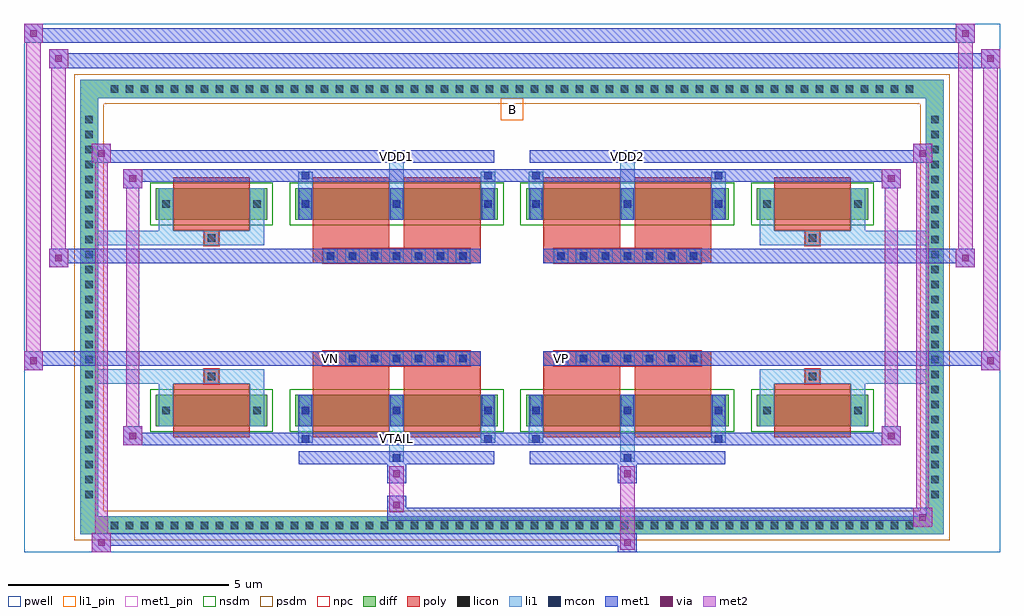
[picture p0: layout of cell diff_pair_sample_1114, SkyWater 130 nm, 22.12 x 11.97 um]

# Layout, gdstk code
import gdstk
lib = gdstk.Library(unit=1e-6, precision=5e-09)
def R(c, l, rs):  # rectangles x0, y0, x1, y1
    for r in rs: c.add(gdstk.rectangle(r[:2], r[2:], *l))
def A(c, l, x, y, w, h, nx, ny, dx, dy):  # array of equal rectangles
    R(c, l, [(x+i*dx, y+j*dy, x+i*dx+w, y+j*dy+h) for i in range(nx) for j in range(ny)])
def P(c, l, *ps):  # polygons
    for p in ps: c.add(gdstk.Polygon(p, *l))
pwell = (64, 44)
diff = (65, 20)
poly = (66, 20)
licon = (66, 44)
li1_pin = (67, 16)
li1 = (67, 20)
mcon = (67, 44)
met1_pin = (68, 16)
met1 = (68, 20)
via = (68, 44)
met2 = (69, 20)
nsdm = (93, 44)
psdm = (94, 20)
npc = (95, 20)

diff_pair_sample_1114 = lib.new_cell('diff_pair_sample_1114')
R(diff_pair_sample_1114, pwell, [(-11.06,-5.55,11.06,6.42), (-8.38,-3.74,-0.01,-0.8), (0.01,-3.74,8.38,-0.8), (-8.38,0.8,-0.01,3.74), (0.01,0.8,8.38,3.74)])
A(diff_pair_sample_1114, diff, -9.215, -5.15, 0.41, 0.41, 54, 2, 0.34, 9.89)
A(diff_pair_sample_1114, diff, -9.79, -4.455, 0.41, 0.41, 1, 26, 0, 0.34)
A(diff_pair_sample_1114, diff, 9.38, -4.455, 0.41, 0.41, 1, 26, 0, 0.34)
R(diff_pair_sample_1114, diff, [(-9.215,-5.15,9.215,-4.74), (-9.79,-4.455,-9.38,4.455), (9.38,-4.455,9.79,4.455), (-8.07,-2.695,-5.55,-1.985), (-4.91,-2.695,-0.32,-1.985), (0.32,-2.695,4.91,-1.985), (5.55,-2.695,8.07,-1.985), (-8.07,1.985,-5.55,2.695), (-4.91,1.985,-0.32,2.695), (0.32,1.985,4.91,2.695), (5.55,1.985,8.07,2.695), (-9.215,4.74,9.215,5.15)])
P(diff_pair_sample_1114, diff, [(9.79,5.15),(-9.79,5.15),(-9.79,-4.74),(-9.38,-4.74),(-9.38,4.74),(9.38,4.74),(9.38,-4.74),(-9.38,-4.74),(-9.79,-4.74),(-9.79,-5.15),(9.79,-5.15)])
A(diff_pair_sample_1114, poly, -4.28, -1.33, 0.33, 0.33, 7, 2, 0.5, 2.33)
A(diff_pair_sample_1114, poly, 0.95, -1.33, 0.33, 0.33, 7, 2, 0.5, 2.33)
R(diff_pair_sample_1114, poly, [(-7.68,-2.945,-5.94,-1.735), (-4.52,-2.945,-2.78,-1.735), (-2.45,-2.945,-0.71,-1.735), (0.71,-2.945,2.45,-1.735), (2.78,-2.945,4.52,-1.735), (5.94,-2.945,7.68,-1.735), (-6.975,-1.735,-6.645,-1.405), (-6.975,-1.735,-6.645,-1.405), (-4.52,-1.735,-2.78,-1.33), (-2.45,-1.735,-0.71,-1.33), (0.71,-1.735,2.45,-1.33), (2.78,-1.735,4.52,-1.33), (6.645,-1.735,6.975,-1.405), (6.645,-1.735,6.975,-1.405), (-4.52,-1.33,-0.71,-1), (0.71,-1.33,4.52,-1), (-4.52,1,-0.71,1.33), (0.71,1,4.52,1.33), (-4.52,1.33,-2.78,1.735), (-2.45,1.33,-0.71,1.735), (0.71,1.33,2.45,1.735), (2.78,1.33,4.52,1.735), (-6.975,1.405,-6.645,1.735), (-6.975,1.405,-6.645,1.735), (6.645,1.405,6.975,1.735), (6.645,1.405,6.975,1.735), (-7.68,1.735,-5.94,2.945), (-4.52,1.735,-2.78,2.945), (-2.45,1.735,-0.71,2.945), (0.71,1.735,2.45,2.945), (2.78,1.735,4.52,2.945), (5.94,1.735,7.68,2.945)])
A(diff_pair_sample_1114, licon, -9.095, -5.03, 0.17, 0.17, 54, 2, 0.34, 9.89)
A(diff_pair_sample_1114, licon, -9.67, -4.335, 0.17, 0.17, 1, 26, 0, 0.34)
A(diff_pair_sample_1114, licon, 9.5, -4.335, 0.17, 0.17, 1, 26, 0, 0.34)
A(diff_pair_sample_1114, licon, -4.77, -2.425, 0.17, 0.17, 3, 2, 2.07, 4.68)
A(diff_pair_sample_1114, licon, 0.46, -2.425, 0.17, 0.17, 3, 2, 2.07, 4.68)
A(diff_pair_sample_1114, licon, -4.2, -1.25, 0.17, 0.17, 7, 2, 0.5, 2.33)
A(diff_pair_sample_1114, licon, 1.03, -1.25, 0.17, 0.17, 7, 2, 0.5, 2.33)
R(diff_pair_sample_1114, licon, [(-7.93,-2.425,-7.76,-2.255), (-5.86,-2.425,-5.69,-2.255), (5.69,-2.425,5.86,-2.255), (7.76,-2.425,7.93,-2.255), (-6.895,-1.655,-6.725,-1.485), (6.725,-1.655,6.895,-1.485), (-6.895,1.485,-6.725,1.655), (6.725,1.485,6.895,1.655), (-7.93,2.255,-7.76,2.425), (-5.86,2.255,-5.69,2.425), (5.69,2.255,5.86,2.425), (7.76,2.255,7.93,2.425)])
R(diff_pair_sample_1114, li1_pin, [(-0.25,4.24,0.25,4.74)])
A(diff_pair_sample_1114, li1, -9.175, -5.11, 0.33, 0.33, 54, 2, 0.34, 9.89)
A(diff_pair_sample_1114, li1, -9.75, -4.415, 0.33, 0.33, 1, 26, 0, 0.34)
A(diff_pair_sample_1114, li1, 9.42, -4.415, 0.33, 0.33, 1, 26, 0, 0.34)
A(diff_pair_sample_1114, li1, -4.85, -2.695, 0.33, 0.71, 3, 2, 2.07, 4.68)
A(diff_pair_sample_1114, li1, 0.38, -2.695, 0.33, 0.71, 3, 2, 2.07, 4.68)
A(diff_pair_sample_1114, li1, -4.85, -2.505, 0.33, 0.33, 3, 2, 2.07, 4.68)
A(diff_pair_sample_1114, li1, 0.38, -2.505, 0.33, 0.33, 3, 2, 2.07, 4.68)
A(diff_pair_sample_1114, li1, -4.28, -1.33, 0.33, 0.33, 7, 2, 0.5, 2.33)
A(diff_pair_sample_1114, li1, 0.95, -1.33, 0.33, 0.33, 7, 2, 0.5, 2.33)
R(diff_pair_sample_1114, li1, [(-9.79,-5.15,-9.38,-4.74), (-9.79,-5.15,-9.38,-4.74), (-9.38,-5.15,9.38,-4.74), (9.38,-5.15,9.79,-4.74), (9.38,-5.15,9.79,-4.74), (-9.79,-4.74,-9.38,4.74), (9.38,-4.74,9.79,4.74), (-2.78,-3.5,-2.45,-2.695), (-2.7,-3.5,-2.53,-3.33), (2.45,-3.5,2.78,-2.695), (2.53,-3.5,2.7,-3.33), (-4.85,-3.07,-4.52,-2.695), (-4.77,-3.07,-4.6,-2.9), (-0.71,-3.07,-0.38,-2.695), (-0.63,-3.07,-0.46,-2.9), (0.38,-3.07,0.71,-2.695), (0.46,-3.07,0.63,-2.9), (4.52,-3.07,4.85,-2.695), (4.6,-3.07,4.77,-2.9), (-8.01,-2.695,-7.68,-1.985), (-5.94,-2.695,-5.61,-1.985), (5.61,-2.695,5.94,-1.985), (7.68,-2.695,8.01,-1.985), (-8.01,-2.505,-7.68,-2.175), (-5.94,-2.505,-5.61,-2.175), (5.61,-2.505,5.94,-2.175), (7.68,-2.505,8.01,-2.175), (-4.77,-2.425,-4.6,-2.255), (-4.77,-2.425,-4.6,-2.255), (-2.7,-2.425,-2.53,-2.255), (-2.7,-2.425,-2.53,-2.255), (-0.63,-2.425,-0.46,-2.255), (-0.63,-2.425,-0.46,-2.255), (0.46,-2.425,0.63,-2.255), (0.46,-2.425,0.63,-2.255), (2.53,-2.425,2.7,-2.255), (2.53,-2.425,2.7,-2.255), (4.6,-2.425,4.77,-2.255), (4.6,-2.425,4.77,-2.255), (-8.01,-1.985,-7.68,-1.405), (-5.94,-1.985,-5.61,-1.405), (5.61,-1.985,5.94,-1.405), (7.68,-1.985,8.01,-1.405), (-9.79,-1.735,-6.975,-1.405), (-8.01,-1.735,-6.975,-1.405), (-6.975,-1.735,-6.645,-1.405), (-6.645,-1.735,-5.61,-1.405), (5.61,-1.735,6.645,-1.405), (6.645,-1.735,6.975,-1.405), (6.645,-1.735,9.79,-1.405), (6.975,-1.735,8.01,-1.405), (-9.79,1.405,-6.975,1.735), (-8.01,1.405,-6.975,1.735), (-8.01,1.405,-7.68,1.985), (-6.975,1.405,-6.645,1.735), (-6.645,1.405,-5.61,1.735), (-5.94,1.405,-5.61,1.985), (5.61,1.405,6.645,1.735), (5.61,1.405,5.94,1.985), (6.645,1.405,6.975,1.735), (6.645,1.405,9.79,1.735), (6.975,1.405,8.01,1.735), (7.68,1.405,8.01,1.985), (-8.01,1.985,-7.68,2.695), (-5.94,1.985,-5.61,2.695), (5.61,1.985,5.94,2.695), (7.68,1.985,8.01,2.695), (-8.01,2.175,-7.68,2.505), (-5.94,2.175,-5.61,2.505), (5.61,2.175,5.94,2.505), (7.68,2.175,8.01,2.505), (-4.77,2.255,-4.6,2.425), (-4.77,2.255,-4.6,2.425), (-2.7,2.255,-2.53,2.425), (-2.7,2.255,-2.53,2.425), (-0.63,2.255,-0.46,2.425), (-0.63,2.255,-0.46,2.425), (0.46,2.255,0.63,2.425), (0.46,2.255,0.63,2.425), (2.53,2.255,2.7,2.425), (2.53,2.255,2.7,2.425), (4.6,2.255,4.77,2.425), (4.6,2.255,4.77,2.425), (-4.85,2.695,-4.52,3.07), (-2.78,2.695,-2.45,3.5), (-0.71,2.695,-0.38,3.07), (0.38,2.695,0.71,3.07), (2.45,2.695,2.78,3.5), (4.52,2.695,4.85,3.07), (-4.77,2.9,-4.6,3.07), (-0.63,2.9,-0.46,3.07), (0.46,2.9,0.63,3.07), (4.6,2.9,4.77,3.07), (-2.7,3.33,-2.53,3.5), (2.53,3.33,2.7,3.5), (-9.79,4.74,-9.38,5.15), (-9.79,4.74,-9.38,5.15), (-9.38,4.74,9.38,5.15), (9.38,4.74,9.79,5.15), (9.38,4.74,9.79,5.15)])
A(diff_pair_sample_1114, mcon, -4.77, -2.425, 0.17, 0.17, 3, 2, 2.07, 4.68)
A(diff_pair_sample_1114, mcon, 0.46, -2.425, 0.17, 0.17, 3, 2, 2.07, 4.68)
A(diff_pair_sample_1114, mcon, -4.2, -1.25, 0.17, 0.17, 7, 2, 0.5, 2.33)
A(diff_pair_sample_1114, mcon, 1.03, -1.25, 0.17, 0.17, 7, 2, 0.5, 2.33)
R(diff_pair_sample_1114, mcon, [(-2.7,-3.5,-2.53,-3.33), (2.53,-3.5,2.7,-3.33), (-4.77,-3.07,-4.6,-2.9), (-0.63,-3.07,-0.46,-2.9), (0.46,-3.07,0.63,-2.9), (4.6,-3.07,4.77,-2.9), (-4.77,2.9,-4.6,3.07), (-0.63,2.9,-0.46,3.07), (0.46,2.9,0.63,3.07), (4.6,2.9,4.77,3.07), (-2.7,3.33,-2.53,3.5), (2.53,3.33,2.7,3.5)])
R(diff_pair_sample_1114, met1_pin, [(-2.75,-3.11,-2.48,-2.84), (-4.25,-1.29,-3.98,-1.02), (0.98,-1.29,1.25,-1.02), (-2.75,3.29,-2.48,3.56), (2.48,3.29,2.75,3.56)])
A(diff_pair_sample_1114, met1, -4.83, -2.695, 0.29, 0.71, 3, 2, 2.07, 4.68)
A(diff_pair_sample_1114, met1, 0.4, -2.695, 0.29, 0.71, 3, 2, 2.07, 4.68)
A(diff_pair_sample_1114, met1, -4.83, -2.485, 0.29, 0.29, 3, 2, 2.07, 4.68)
A(diff_pair_sample_1114, met1, 0.4, -2.485, 0.29, 0.29, 3, 2, 2.07, 4.68)
A(diff_pair_sample_1114, met1, -4.26, -1.31, 0.29, 0.29, 7, 2, 0.5, 2.33)
A(diff_pair_sample_1114, met1, 0.97, -1.31, 0.29, 0.29, 7, 2, 0.5, 2.33)
R(diff_pair_sample_1114, met1, [(-9.52,-5.55,-9.09,-5.12), (2.4,-5.55,2.83,-5.12), (-9.52,-5.41,2.83,-5.12), (9.09,-4.98,9.52,-4.55), (-2.83,-4.84,9.52,-4.55), (-2.83,-4.7,-2.4,-4.27), (-2.83,-3.99,-2.4,-3.56), (2.4,-3.99,2.83,-3.56), (-4.83,-3.56,-0.4,-3.27), (-2.76,-3.56,-2.47,-3.27), (0.4,-3.56,4.83,-3.27), (2.47,-3.56,2.76,-3.27), (-8.81,-3.13,-8.38,-2.7), (-8.81,-3.13,-4.83,-2.84), (-4.83,-3.13,-4.54,-2.84), (-4.83,-3.13,-0.4,-2.84), (-0.69,-3.13,-0.4,-2.84), (-0.4,-3.13,0.4,-2.84), (0.4,-3.13,0.69,-2.84), (0.4,-3.13,4.83,-2.84), (4.54,-3.13,4.83,-2.84), (4.83,-3.13,8.81,-2.84), (8.38,-3.13,8.81,-2.7), (-11.06,-1.43,-10.63,-1), (10.63,-1.43,11.06,-1), (-11.06,-1.33,-0.71,-1), (-4.52,-1.33,-0.71,-1), (0.71,-1.33,4.52,-1), (0.71,-1.33,11.06,-1), (-10.49,0.9,-10.06,1.33), (10.06,0.9,10.49,1.33), (-10.49,1,-4.52,1.33), (-4.52,1,-0.71,1.33), (0.71,1,4.52,1.33), (4.52,1,10.49,1.33), (-8.81,2.7,-8.38,3.13), (8.38,2.7,8.81,3.13), (-8.81,2.84,-4.83,3.13), (-4.83,2.84,-4.54,3.13), (-4.83,2.84,-0.4,3.13), (-0.69,2.84,-0.4,3.13), (-0.4,2.84,0.4,3.13), (0.4,2.84,0.69,3.13), (0.4,2.84,4.83,3.13), (4.54,2.84,4.83,3.13), (4.83,2.84,8.81,3.13), (-9.52,3.27,-9.09,3.7), (-9.52,3.27,-4.83,3.56), (-4.83,3.27,-0.4,3.56), (-2.76,3.27,-2.47,3.56), (0.4,3.27,4.83,3.56), (2.47,3.27,2.76,3.56), (4.83,3.27,9.52,3.56), (9.09,3.27,9.52,3.7), (-10.49,5.42,-10.06,5.85), (-10.49,5.42,-8.38,5.75), (-8.38,5.42,8.38,5.75), (8.38,5.42,11.06,5.75), (10.63,5.42,11.06,5.85), (-11.06,5.99,-10.63,6.42), (-11.06,5.99,-8.38,6.32), (-8.38,5.99,8.38,6.32), (8.38,5.99,10.49,6.32), (10.06,5.99,10.49,6.42)])
R(diff_pair_sample_1114, via, [(-9.38,-5.41,-9.23,-5.26), (2.54,-5.41,2.69,-5.26), (9.23,-4.84,9.38,-4.69), (-2.69,-4.56,-2.54,-4.41), (-2.69,-3.85,-2.54,-3.7), (2.54,-3.85,2.69,-3.7), (-8.67,-2.99,-8.52,-2.84), (8.52,-2.99,8.67,-2.84), (-10.92,-1.29,-10.77,-1.14), (10.77,-1.29,10.92,-1.14), (-10.35,1.04,-10.2,1.19), (10.2,1.04,10.35,1.19), (-8.67,2.84,-8.52,2.99), (8.52,2.84,8.67,2.99), (-9.38,3.41,-9.23,3.56), (9.23,3.41,9.38,3.56), (-10.35,5.56,-10.2,5.71), (10.77,5.56,10.92,5.71), (-10.92,6.13,-10.77,6.28), (10.2,6.13,10.35,6.28)])
R(diff_pair_sample_1114, met2, [(-9.52,-5.55,-9.09,-5.12), (-9.45,-5.55,-9.16,3.7), (-9.16,-5.55,-9.09,-5.12), (-9.47,-5.5,-9.14,-5.17), (2.45,-5.5,2.78,-5.17), (2.45,-5.17,2.78,-3.94), (9.09,-4.98,9.52,-4.55), (9.16,-4.98,9.45,3.7), (9.45,-4.98,9.52,-4.55), (9.14,-4.93,9.47,-4.6), (-2.78,-4.65,-2.45,-4.32), (-2.78,-4.32,-2.45,-3.94), (-2.78,-3.94,-2.45,-3.61), (2.45,-3.94,2.78,-3.61), (-8.81,-3.13,-8.38,-2.7), (-8.74,-3.13,-8.45,3.13), (-8.45,-3.13,-8.38,-2.7), (8.38,-3.13,8.81,-2.7), (8.45,-3.13,8.74,3.13), (8.74,-3.13,8.81,-2.7), (-8.76,-3.08,-8.43,-2.75), (8.43,-3.08,8.76,-2.75), (-11.06,-1.43,-10.63,-1), (-11.01,-1.43,-10.68,6.42), (-10.68,-1.43,-10.63,-1), (10.63,-1.43,11.06,-1), (10.68,-1.43,11.01,5.85), (11.01,-1.43,11.06,-1), (-11.01,-1.38,-10.68,-1.05), (10.68,-1.38,11.01,-1.05), (-10.49,0.9,-10.06,1.33), (-10.44,0.9,-10.11,5.85), (-10.11,0.9,-10.06,1.33), (10.06,0.9,10.49,1.33), (10.11,0.9,10.44,6.42), (10.44,0.9,10.49,1.33), (-10.44,0.95,-10.11,1.28), (10.11,0.95,10.44,1.28), (-8.81,2.7,-8.38,3.13), (-8.45,2.7,-8.38,3.13), (8.38,2.7,8.81,3.13), (8.74,2.7,8.81,3.13), (-8.76,2.75,-8.43,3.08), (8.43,2.75,8.76,3.08), (-9.52,3.27,-9.09,3.7), (-9.16,3.27,-9.09,3.7), (9.09,3.27,9.52,3.7), (9.45,3.27,9.52,3.7), (-9.47,3.32,-9.14,3.65), (9.14,3.32,9.47,3.65), (-10.49,5.42,-10.06,5.85), (-10.11,5.42,-10.06,5.85), (10.63,5.42,11.06,5.85), (11.01,5.42,11.06,5.85), (-10.44,5.47,-10.11,5.8), (10.68,5.47,11.01,5.8), (-11.06,5.99,-10.63,6.42), (-10.68,5.99,-10.63,6.42), (10.06,5.99,10.49,6.42), (10.44,5.99,10.49,6.42), (-11.01,6.04,-10.68,6.37), (10.11,6.04,10.44,6.37)])
R(diff_pair_sample_1114, nsdm, [(-8.2,-2.825,-5.42,-1.855), (-5.04,-2.825,-0.19,-1.855), (0.19,-2.825,5.04,-1.855), (5.42,-2.825,8.2,-1.855), (-8.2,1.855,-5.42,2.825), (-5.04,1.855,-0.19,2.825), (0.19,1.855,5.04,2.825), (5.42,1.855,8.2,2.825)])
P(diff_pair_sample_1114, psdm, [(9.92,5.28),(-9.92,5.28),(-9.92,-4.61),(-9.25,-4.61),(-9.25,4.61),(9.25,4.61),(9.25,-4.61),(-9.25,-4.61),(-9.92,-4.61),(-9.92,-5.28),(9.92,-5.28)])
A(diff_pair_sample_1114, npc, -4.3, -1.35, 0.37, 0.37, 7, 2, 0.5, 2.33)
A(diff_pair_sample_1114, npc, 0.93, -1.35, 0.37, 0.37, 7, 2, 0.5, 2.33)
R(diff_pair_sample_1114, npc, [(-6.995,-1.755,-6.625,-1.385), (6.625,-1.755,6.995,-1.385), (-4.3,-1.35,-3.43,-0.98), (-4.3,-1.35,-3.43,-0.98), (-3.8,-1.35,-2.93,-0.98), (-3.8,-1.35,-2.93,-0.98), (-3.3,-1.35,-2.43,-0.98), (-3.3,-1.35,-2.43,-0.98), (-2.8,-1.35,-1.93,-0.98), (-2.8,-1.35,-1.93,-0.98), (-2.3,-1.35,-1.43,-0.98), (-2.3,-1.35,-1.43,-0.98), (-1.8,-1.35,-0.93,-0.98), (-1.8,-1.35,-0.93,-0.98), (0.93,-1.35,1.8,-0.98), (0.93,-1.35,1.8,-0.98), (1.43,-1.35,2.3,-0.98), (1.43,-1.35,2.3,-0.98), (1.93,-1.35,2.8,-0.98), (1.93,-1.35,2.8,-0.98), (2.43,-1.35,3.3,-0.98), (2.43,-1.35,3.3,-0.98), (2.93,-1.35,3.8,-0.98), (2.93,-1.35,3.8,-0.98), (3.43,-1.35,4.3,-0.98), (3.43,-1.35,4.3,-0.98), (-4.3,0.98,-3.43,1.35), (-4.3,0.98,-3.43,1.35), (-3.8,0.98,-2.93,1.35), (-3.8,0.98,-2.93,1.35), (-3.3,0.98,-2.43,1.35), (-3.3,0.98,-2.43,1.35), (-2.8,0.98,-1.93,1.35), (-2.8,0.98,-1.93,1.35), (-2.3,0.98,-1.43,1.35), (-2.3,0.98,-1.43,1.35), (-1.8,0.98,-0.93,1.35), (-1.8,0.98,-0.93,1.35), (0.93,0.98,1.8,1.35), (0.93,0.98,1.8,1.35), (1.43,0.98,2.3,1.35), (1.43,0.98,2.3,1.35), (1.93,0.98,2.8,1.35), (1.93,0.98,2.8,1.35), (2.43,0.98,3.3,1.35), (2.43,0.98,3.3,1.35), (2.93,0.98,3.8,1.35), (2.93,0.98,3.8,1.35), (3.43,0.98,4.3,1.35), (3.43,0.98,4.3,1.35), (-6.995,1.385,-6.625,1.755), (6.625,1.385,6.995,1.755)])
diff_pair_sample_1114.add(gdstk.Label('VTAIL', (-2.615,-2.975), layer=68, texttype=5))
diff_pair_sample_1114.add(gdstk.Label('VN', (-4.115,-1.155), layer=68, texttype=5))
diff_pair_sample_1114.add(gdstk.Label('VP', (1.115,-1.155), layer=68, texttype=5))
diff_pair_sample_1114.add(gdstk.Label('B', (0,4.49), layer=67, texttype=5))
diff_pair_sample_1114.add(gdstk.Label('VDD2', (2.615,3.425), layer=68, texttype=5))
diff_pair_sample_1114.add(gdstk.Label('VDD1', (-2.615,3.425), layer=68, texttype=5))

lib.write_gds('diff_pair_sample_1114.gds')
